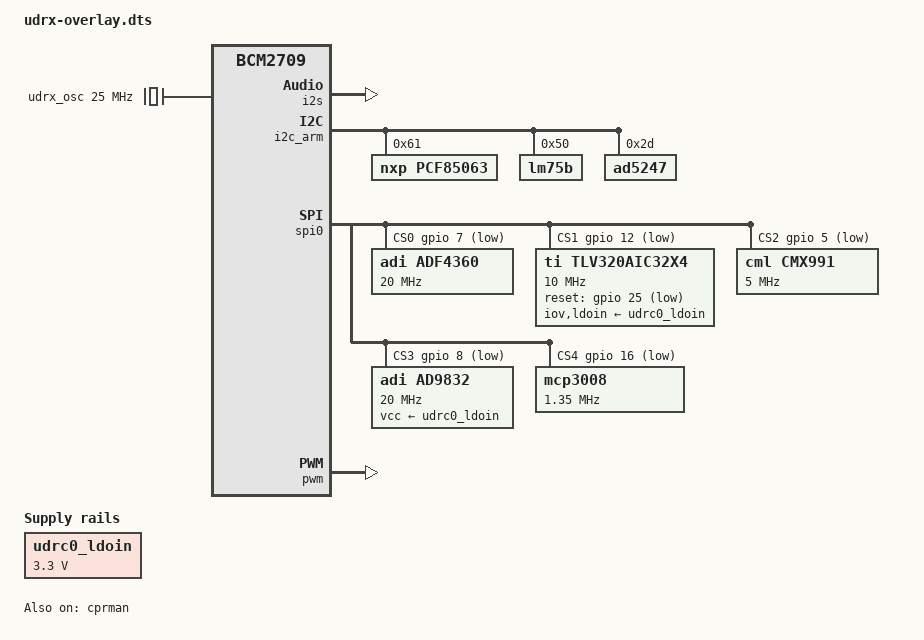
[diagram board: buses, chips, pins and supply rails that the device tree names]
#include <dt-bindings/clock/bcm2835-aux.h>
#include <dt-bindings/clock/bcm2835.h>
/*
 * Device tree overlay for the Universal Digital Radio Controller
 */

/dts-v1/;
/plugin/;

/ {
    compatible = "brcm,bcm2835", "brcm,bcm2836", "brcm,bcm2708", "brcm,bcm2709";
    fragment@0 {
        target-path = "/clocks";
        __overlay__ {
            udrx_osc: udrx_osc {
                compatible = "fixed-clock";
                #clock-cells = <0>;
                clock-frequency = <25000000>;
            };
        };
    };

    fragment@1 {
        target = <&i2s>;
        __overlay__ {
            clocks = <&cprman BCM2835_CLOCK_PCM>;
            clock-names = "pcm";
            status = "okay";
        };
    };

    fragment@2 {
        target-path = "/";
        __overlay__ {
            regulators {
                compatible = "simple-bus";
                #address-cells = <1>;
                #size-cells = <0>;

                udrc0_ldoin: udrc0_ldoin {
                    compatible = "regulator-fixed";
                    regulator-name = "ldoin";
                    regulator-min-microvolt = <3300000>;
                    regulator-max-microvolt = <3300000>;
                    regulator-always-on;
                };
            };
        };
    };

    fragment@3 {
        target = <&i2c_arm>;
        __overlay__ {
            #address-cells = <1>;
            #size-cells = <0>;
            status = "okay";

            pcf85063: pcf85063@61 {
                compatible = "nxp,pcf85063";
                reg = <0x61>;
                status = "okay";
            };

            lm75b: lm75b@50 {
                compatible = "lm75b";
                reg = <0x50>;
                status = "okay";
            };

            ad5247: ad5247@2d {
                compatible = "ad5247";
                reg = <0x2d>;
                status = "okay";
            };
        };
    };

    fragment@4 {
		target = <&sound>;
		__overlay__ {
			compatible = "nwdr,udrc";
			i2s-controller = <&i2s>;
			codec-device = <&tlv320aic32x4>;
			status = "okay";
		};
    };


    fragment@5 {
        target = <&spi0>;
        __overlay__ {
            #address-cells = <1>;
            #size-cells = <0>;
            pinctrl-0 = <&spi0_pins &spi0_cs_pins>;
            pinctrl-names = "default";
            status = "okay";
            /* cs-gpios = <&gpio 8 1>, <&gpio 7 1>, <&gpio 17 1>, <&gpio 27 1>, <&gpio 16 1>; */
            cs-gpios = <&gpio 7 1>, <&gpio 12 1>, <&gpio 5 1>, <&gpio 8 1>, <&gpio 16 1>;

            spidev@0 {
                status = "disabled";
            };

            spidev@1 {
            	status = "disabled";
            };

            adf4360@0 {
            	#address-cells = <1>;
                #size-cells = <0>;
                compatible = "adi,adf4360";
                reg = <0>;
                status = "okay";
                
                spi-max-frequency = <20000000>;
            };

            tlv320aic32x4: tlv320aic32x4@1 {
                #address-cells = <1>;
                #size-cells = <0>;
                compatible = "ti,tlv320aic32x4";
                reg = <1>;
                status = "okay";

                pinctrl-names = "default";
                pinctrl-0 = <&master_reset>;

                reset-gpios = <&gpio 25 1>;
                
                spi-max-frequency = <10000000>;
                spi-cpha;

                clocks = <&udrx_osc>;
                clock-names = "mclk";

                iov-supply = <&udrc0_ldoin>;
                ldoin-supply = <&udrc0_ldoin>;

				ti,hp-ldoin-powered;
				ti,lo-ldoin-powered;

				ti,avdd-weak-disable;
		
				ti,common-mode-microvolt = <1650000>;
            };
            
            cmx991@2 {
            	#address-cells = <1>;
            	#size-cells = <0>;
            	compatible = "cml,cmx991";
            	reg = <2>;
            	status = "okay";
            	
            	spi-max-frequency = <5000000>;
            };
            
            ad9832@3 {
                #address-cells = <1>;
                #size-cells = <0>;
                compatible = "adi,ad9832";
                reg = <3>;
                status = "okay";
                
                spi-max-frequency = <20000000>;
                spi-cpha;

                vcc-supply = <&udrc0_ldoin>;                
            };

            mcp3008@4 {
                #address-cells = <1>;
                #size-cells = <0>;
                compatible = "mcp3008";
                reg = <4>;
                status = "okay";

                spi-max-frequency = <1350000>;
            };
            
        };
    };

    fragment@6 {
        target = <&gpio>;
        __overlay__ {
            spi0_cs_pins: spi0_cs_pins {
                brcm,pins = <5 7 8 12 16>;
                brcm,function = <1>;
            };

            pwm_pins: pwm_pins {
                brcm,pins = <13>;
                brcm,function = <4>;
            };

            master_reset: master_reset {
                brcm,pins = <25>;
                brcm,function = <1>;
                brcm,pull = <1>;
            };
        };
    };

    fragment@7 {
        target = <&cprman>;
        __overlay__ {
            status = "okay";
        };
    };
    
    fragment@8 {
    	target = <&sdhost>;
    	__overlay__ {
    		clocks = <&cprman BCM2835_CLOCK_EMMC>;
    	};
    };

    fragment@9 {
        target = <&pwm>;
        __overlay__ {
            clocks = <&cprman BCM2835_CLOCK_PWM>;
            status = "okay";
        };
    };
};
